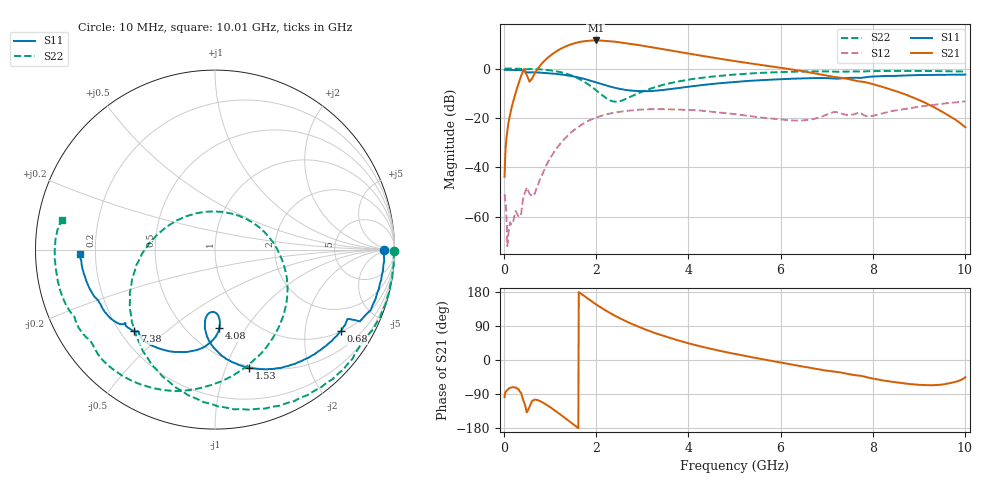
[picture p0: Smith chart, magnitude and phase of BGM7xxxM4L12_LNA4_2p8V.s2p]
! (c) 2014 Infineon Technologies AG
! BGM7xxxM4L12 - Silicon Germanium Quad-Band LTE LNA bank
! 20 May 2014
! Special Application Board
! C1 = L1 = 0 Ohm
! C2 = 100 nF
! Vcc = 2.8V
! RF input and output lines de-embedded
! Port 1 reference plane: LNA input AI (pin 2)
! Port 2 reference plane: LNA output AO (pin 3)
! Network Data:
! Measured BGM7xxxM4L12 device level s-parameters
# GHz S MA R 50
!Freq  MagS11  AngS11  MagS21  AngS21  MagS12  AngS12  MagS22  AngS22
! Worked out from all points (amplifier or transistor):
!   1001 points, 10 MHz to 10.01 GHz, reference 50 ohm
!   highest |S21| = 11.4 dB at 1.99 GHz (marker M1)
!   |S21| within 3 dB of that: 1.267 GHz to 3.277 GHz (2.01 GHz wide, 88.5 % of centre)
!   unconditionally stable (mu >= 1): start of sweep to 120.7 MHz; 310.3 MHz to 6.188 GHz; 9.383 GHz to end of sweep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
!   at 1.67 GHz: K = 1.28, MAG = 13.7 dB, |S12| = -22.9 dB
!   at 5.01 GHz: K = 1.19, MAG = 8.1 dB, |S12| = -18.5 dB
!   at 10.01 GHz: K = 3.23, MAG = -13.3 dB, |S12| = -13.3 dB
!   lowest NFmin = 0.69 dB at 1.85 GHz
!   S11 on the Smith chart (normalised r, x): 10 MHz: 34, -2; 680 MHz: 1.02, -3.07; 1.53 GHz: 0.49, -1.21; 4.08 GHz: 0.71, -0.76; 7.38 GHz: 0.26, -0.39; 10.01 GHz: 0.14, -0.02
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0.01  0.9434 -0.2  0.006394 -98.1  0.002841 -32.7  0.9999 -0.6
0.11  0.9422 -5.9  0.09623 -74.9  0.0005948 53.4  0.9975 -7.8
0.33  0.9324 -18.4  0.5563 -81.3  0.0009811 120.9  0.9898 -23.7
0.41  0.9088 -24.6  0.8783 -104.3  0.002236 155.8  0.975 -29.5
0.48  0.8446 -27.3  0.7621 -132.7  0.003657 131.9  0.9696 -33.6
0.68  0.8348 -33.0  0.8435 -104.7  0.003226 166.6  0.9719 -48.6
0.89  0.8131 -42.6  1.483 -116.0  0.009744 -173.3  0.9428 -65.8
1.14  0.7779 -54.5  2.251 -136.7  0.02407 178.3  0.8768 -87.8
1.32  0.7417 -63.5  2.77 -153.0  0.03832 168.6  0.8008 -105.3
1.53  0.6846 -73.9  3.254 -172.5  0.05785 154.6  0.6783 -127.5
1.68  0.637 -80.9  3.506 173.8  0.07261 144.7  0.5798 -144.7
1.99  0.5279 -92.4  3.71 147.0  0.1014 124.4  0.3677 174.3
2.25  0.4443 -97.1  3.606 127.3  0.1195 109.2  0.239 127.3
2.52  0.385 -97.7  3.391 109.5  0.1333 95.8  0.2188 67.5
2.93  0.3494 -93.6  2.974 87.0  0.1462 79.4  0.3206 8.8
3.35  0.3597 -88.0  2.559 68.0  0.1504 65.2  0.44 -24.0
4.08  0.4368 -86.8  1.959 41.4  0.1434 48.8  0.6119 -61.5
5.01  0.5343 -94.9  1.414 16.0  0.1193 37.5  0.757 -92.2
6.68  0.6394 -123.1  0.822 -21.6  0.09372 61.7  0.8751 -129.6
7.38  0.6387 -134.6  0.6361 -34.9  0.1172 56.0  0.8678 -145.6
8.35  0.7074 -153.5  0.3859 -56.3  0.1339 73.1  0.8938 -168.6
10.01  0.7538 -178.1  0.06441 -45.2  0.2169 67.9  0.8693 169.1
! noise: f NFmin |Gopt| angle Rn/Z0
1.8  0.7185  0.4029  64.04  0.1629
1.85  0.6936  0.3941  65.41  0.1491
1.9  0.696  0.3866  67.33  0.1438
1.95  0.6961  0.3846  68.65  0.1474
2  0.6937  0.383  71.23  0.1403
2.05  0.6943  0.3877  73.49  0.1373
2.1  0.6972  0.3725  74.71  0.1398
2.2  0.735  0.3799  78.67  0.137
2.35  0.7661  0.3775  84.42  0.1321
2.65  0.8188  0.3802  97.99  0.1276
